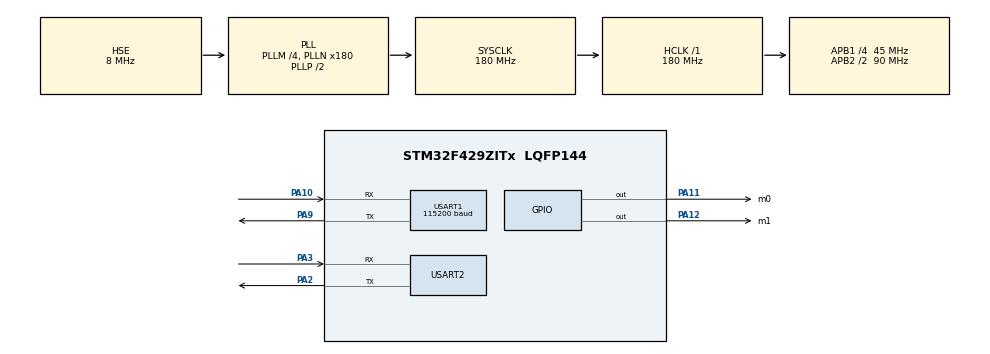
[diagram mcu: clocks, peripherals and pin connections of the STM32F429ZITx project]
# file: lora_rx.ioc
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Mcu.Family=STM32F4
Mcu.Name=STM32F429ZITx
Mcu.Package=LQFP144
NVIC.PriorityGroup=NVIC_PRIORITYGROUP_0
NVIC.USART1_IRQn=true\:0\:0\:false\:false\:true\:true\:true\:true
PA10.Mode=Asynchronous
PA10.Signal=USART1_RX
PA11.GPIO_Label=m0
PA11.Signal=GPIO_Output
PA12.GPIO_Label=m1
PA12.Signal=GPIO_Output
PA13.Mode=Serial_Wire
PA13.Signal=SYS_JTMS-SWDIO
PA14.Mode=Serial_Wire
PA14.Signal=SYS_JTCK-SWCLK
PA2.Mode=Asynchronous
PA2.Signal=USART2_TX
PA3.Mode=Asynchronous
PA3.Signal=USART2_RX
PA9.Mode=Asynchronous
PA9.Signal=USART1_TX
PH0/OSC_IN.Mode=HSE-External-Oscillator
PH0/OSC_IN.Signal=RCC_OSC_IN
PH1/OSC_OUT.Mode=HSE-External-Oscillator
PH1/OSC_OUT.Signal=RCC_OSC_OUT
ProjectManager.HeapSize=0x200
ProjectManager.StackSize=0x400
ProjectManager.TargetToolchain=STM32CubeIDE
RCC.48MHZClocksFreq_Value=51428571.428571425
RCC.AHBFreq_Value=180000000
RCC.APB1CLKDivider=RCC_HCLK_DIV4
RCC.APB1Freq_Value=45000000
RCC.APB1TimFreq_Value=90000000
RCC.APB2CLKDivider=RCC_HCLK_DIV2
RCC.APB2Freq_Value=90000000
RCC.APB2TimFreq_Value=180000000
RCC.CortexFreq_Value=180000000
RCC.HCLKFreq_Value=180000000
RCC.HSE_VALUE=8000000
RCC.HSI_VALUE=16000000
RCC.LSE_VALUE=32768
RCC.PLLM=4
RCC.PLLN=180
RCC.PLLQ=7
RCC.PLLSourceVirtual=RCC_PLLSOURCE_HSE
RCC.SYSCLKFreq_VALUE=180000000
RCC.SYSCLKSource=RCC_SYSCLKSOURCE_PLLCLK
RCC.VCOOutputFreq_Value=360000000
USART1.BaudRate=115200
USART1.VirtualMode=VM_ASYNC
USART2.VirtualMode=VM_ASYNC
board=STM32F429I-DISC1

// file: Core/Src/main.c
/* USER CODE BEGIN Header */
/**
  ******************************************************************************
  * @file           : main.c
  * @brief          : Main program body
  ******************************************************************************
  * @attention
  *
  * Copyright (c) 2024 STMicroelectronics.
  * All rights reserved.
  *
  * This software is licensed under terms that can be found in the LICENSE file
  * in the root directory of this software component.
  * If no LICENSE file comes with this software, it is provided AS-IS.
  *
  ******************************************************************************
  */
/* USER CODE END Header */
#include "main.h"

UART_HandleTypeDef huart1;
UART_HandleTypeDef huart2;

void SystemClock_Config(void);
static void MX_GPIO_Init(void);
static void MX_USART1_UART_Init(void);
static void MX_USART2_UART_Init(void);

/* USER CODE BEGIN 0 */
uint8_t dato_b[20] = "Rx Inicial\n\r";
uint8_t rx;
char buffer_rx[100];
uint8_t i;
/* USER CODE END 0 */

int main(void)
{

  /* MCU Configuration--------------------------------------------------------*/

  /* Reset of all peripherals, Initializes the Flash interface and the Systick. */
  HAL_Init();

  /* Configure the system clock */
  SystemClock_Config();

  /* Initialize all configured peripherals */
  MX_GPIO_Init();
  MX_USART1_UART_Init();
  MX_USART2_UART_Init();
  /* USER CODE BEGIN 2 */
  HAL_UART_Transmit(&huart1, dato_b, sizeof(dato_b), HAL_MAX_DELAY);
  HAL_GPIO_WritePin(m0_GPIO_Port, m0_Pin,GPIO_PIN_RESET);
  HAL_GPIO_WritePin(m1_GPIO_Port, m1_Pin, GPIO_PIN_RESET);
  HAL_UART_Receive_IT(&huart1,&rx,1);

  /* USER CODE END 2 */

  /* Infinite loop */
  while (1)
  {

  }
}

void SystemClock_Config(void)
{
  RCC_OscInitTypeDef RCC_OscInitStruct = {0};
  RCC_ClkInitTypeDef RCC_ClkInitStruct = {0};

  /** Configure the main internal regulator output voltage
  */
  __HAL_RCC_PWR_CLK_ENABLE();
  __HAL_PWR_VOLTAGESCALING_CONFIG(PWR_REGULATOR_VOLTAGE_SCALE1);

  /** Initializes the RCC Oscillators according to the specified parameters
  * in the RCC_OscInitTypeDef structure.
  */
  RCC_OscInitStruct.OscillatorType = RCC_OSCILLATORTYPE_HSE;
  RCC_OscInitStruct.HSEState = RCC_HSE_ON;
  RCC_OscInitStruct.PLL.PLLState = RCC_PLL_ON;
  RCC_OscInitStruct.PLL.PLLSource = RCC_PLLSOURCE_HSE;
  RCC_OscInitStruct.PLL.PLLM = 4;
  RCC_OscInitStruct.PLL.PLLN = 180;
  RCC_OscInitStruct.PLL.PLLP = RCC_PLLP_DIV2;
  RCC_OscInitStruct.PLL.PLLQ = 7;
  if (HAL_RCC_OscConfig(&RCC_OscInitStruct) != HAL_OK)
  {
    Error_Handler();
  }

  /** Activate the Over-Drive mode
  */
  if (HAL_PWREx_EnableOverDrive() != HAL_OK)
  {
    Error_Handler();
  }

  /** Initializes the CPU, AHB and APB buses clocks
  */
  RCC_ClkInitStruct.ClockType = RCC_CLOCKTYPE_HCLK|RCC_CLOCKTYPE_SYSCLK
                              |RCC_CLOCKTYPE_PCLK1|RCC_CLOCKTYPE_PCLK2;
  RCC_ClkInitStruct.SYSCLKSource = RCC_SYSCLKSOURCE_PLLCLK;
  RCC_ClkInitStruct.AHBCLKDivider = RCC_SYSCLK_DIV1;
  RCC_ClkInitStruct.APB1CLKDivider = RCC_HCLK_DIV4;
  RCC_ClkInitStruct.APB2CLKDivider = RCC_HCLK_DIV2;

  if (HAL_RCC_ClockConfig(&RCC_ClkInitStruct, FLASH_LATENCY_5) != HAL_OK)
  {
    Error_Handler();
  }
}

static void MX_USART1_UART_Init(void)
{

  huart1.Instance = USART1;
  huart1.Init.BaudRate = 115200;
  huart1.Init.WordLength = UART_WORDLENGTH_8B;
  huart1.Init.StopBits = UART_STOPBITS_1;
  huart1.Init.Parity = UART_PARITY_NONE;
  huart1.Init.Mode = UART_MODE_TX_RX;
  huart1.Init.HwFlowCtl = UART_HWCONTROL_NONE;
  huart1.Init.OverSampling = UART_OVERSAMPLING_16;
  if (HAL_UART_Init(&huart1) != HAL_OK)
  {
    Error_Handler();
  }

}

static void MX_USART2_UART_Init(void)
{

  huart2.Instance = USART2;
  huart2.Init.BaudRate = 115200;
  huart2.Init.WordLength = UART_WORDLENGTH_8B;
  huart2.Init.StopBits = UART_STOPBITS_1;
  huart2.Init.Parity = UART_PARITY_NONE;
  huart2.Init.Mode = UART_MODE_TX_RX;
  huart2.Init.HwFlowCtl = UART_HWCONTROL_NONE;
  huart2.Init.OverSampling = UART_OVERSAMPLING_16;
  if (HAL_UART_Init(&huart2) != HAL_OK)
  {
    Error_Handler();
  }

}

static void MX_GPIO_Init(void)
{
  GPIO_InitTypeDef GPIO_InitStruct = {0};

  /* GPIO Ports Clock Enable */
  __HAL_RCC_GPIOH_CLK_ENABLE();
  __HAL_RCC_GPIOA_CLK_ENABLE();

  /*Configure GPIO pin Output Level */
  HAL_GPIO_WritePin(GPIOA, m0_Pin|m1_Pin, GPIO_PIN_RESET);

  /*Configure GPIO pins : m0_Pin m1_Pin */
  GPIO_InitStruct.Pin = m0_Pin|m1_Pin;
  GPIO_InitStruct.Mode = GPIO_MODE_OUTPUT_PP;
  GPIO_InitStruct.Pull = GPIO_NOPULL;
  GPIO_InitStruct.Speed = GPIO_SPEED_FREQ_LOW;
  HAL_GPIO_Init(GPIOA, &GPIO_InitStruct);

}

/* USER CODE BEGIN 4 */
void HAL_UART_RxCpltCallback(UART_HandleTypeDef *huart){

	switch (rx) {

		case '*':
          //  bateria = atoi(buffer_rx);
			HAL_UART_Transmit(&huart1, buffer_rx, sizeof(buffer_rx), HAL_MAX_DELAY);
			memset(buffer_rx,0,i);
			i=0;
			break;

		default:
			buffer_rx[i] =rx;
				i++;
			break;
	}

	  HAL_UART_Receive_IT(&huart2,&rx, 1);
}

/* USER CODE END 4 */

void Error_Handler(void)
{
  __disable_irq();
  while (1)
  {
  }
}
